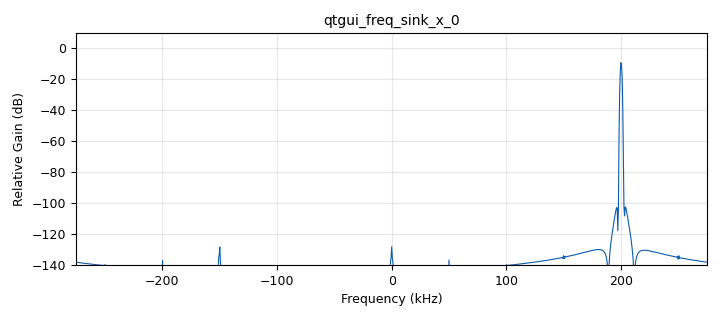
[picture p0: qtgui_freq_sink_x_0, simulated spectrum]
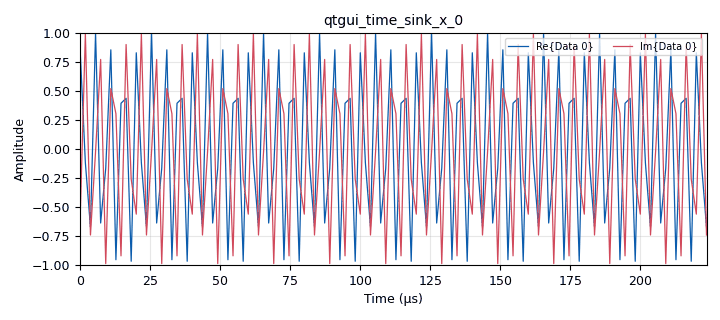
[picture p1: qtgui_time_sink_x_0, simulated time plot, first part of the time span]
options:
  parameters:
    generate_options: qt_gui
    id: ack_tx
    output_language: python
    title: Not titled yet
  states: {}

blocks:
- name: samp_rate
  id: variable
  parameters:
    value: 550e3
  states: {}
- name: analog_sig_source_x_0
  id: analog_sig_source_x
  parameters:
    amp: '1'
    freq: 200e3
    offset: '0'
    phase: '0'
    samp_rate: samp_rate
    type: complex
    waveform: analog.GR_COS_WAVE
  states: {}
- name: qtgui_freq_sink_x_0
  id: qtgui_freq_sink_x
  parameters:
    bw: samp_rate
    fc: '0'
    fftsize: '1024'
    type: complex
  states: {}
- name: qtgui_time_sink_x_0
  id: qtgui_time_sink_x
  parameters:
    size: '1024'
    srate: samp_rate
    type: complex
  states: {}
- name: soapy_limesdr_sink_0
  id: soapy_limesdr_sink
  parameters:
    bandwidth: 5e6
    center_freq: 445e6
    gain: '30'
    samp_rate: samp_rate
    type: fc32
  states: {}

connections:
- [analog_sig_source_x_0, '0', qtgui_freq_sink_x_0, '0']
- [analog_sig_source_x_0, '0', qtgui_time_sink_x_0, '0']
- [analog_sig_source_x_0, '0', soapy_limesdr_sink_0, '0']

metadata:
  file_format: 1
  grc_version: 3.10.11.0
